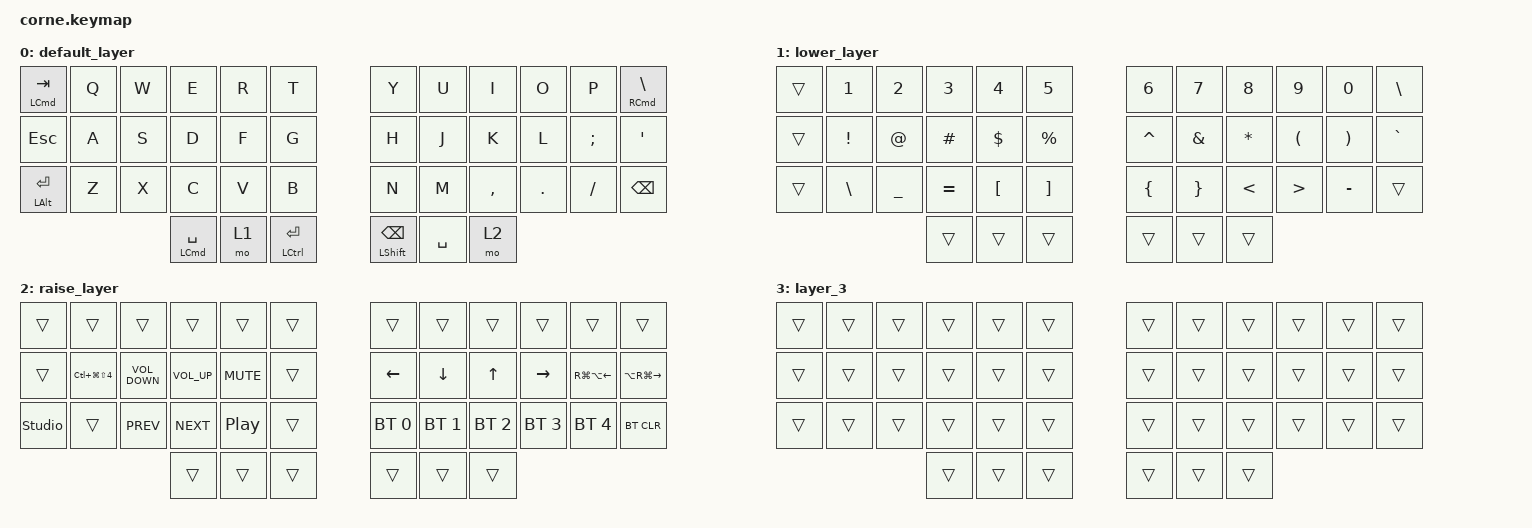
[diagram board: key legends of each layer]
/*
 * Copyright (c) 2020 The ZMK Contributors
 *
 * SPDX-License-Identifier: MIT
 */

#include <behaviors.dtsi>
#include <dt-bindings/zmk/bt.h>
#include <dt-bindings/zmk/keys.h>

/ {
    keymap {
        compatible = "zmk,keymap";

        default_layer {
            // -----------------------------------------------------------------------------------------
            // |  TAB |  Q  |  W  |  E  |  R  |  T  |   |  Y  |  U   |  I  |  O  |  P  | BSPC |
            // | CTRL |  A  |  S  |  D  |  F  |  G  |   |  H  |  J   |  K  |  L  |  ;  |  '   |
            // | SHFT |  Z  |  X  |  C  |  V  |  B  |   |  N  |  M   |  ,  |  .  |  /  | ESC  |
            //                    | GUI | LWR | SPC |   | ENT | RSE  | ALT |

            bindings = <
&mt LEFT_COMMAND TAB  &kp Q  &kp W  &kp E                   &kp R  &kp T               &kp Y                     &kp U      &kp I      &kp O       &kp P     &mt RIGHT_COMMAND BACKSLASH
&kp ESCAPE            &kp A  &kp S  &kp D                   &kp F  &kp G               &kp H                     &kp J      &kp K      &kp L       &kp SEMI  &kp SQT
&mt LEFT_ALT RET      &kp Z  &kp X  &kp C                   &kp V  &kp B               &kp N                     &kp M      &kp COMMA  &kp PERIOD  &kp FSLH  &kp BACKSPACE
                                    &mt LEFT_COMMAND SPACE  &mo 1  &mt LCTRL RETURN    &mt LEFT_SHIFT BACKSPACE  &kp SPACE  &mo 2
            >;
        };

        lower_layer {
            // -----------------------------------------------------------------------------------------
            // |  TAB |  1  |  2  |  3  |  4  |  5  |   |  6  |  7  |  8  |  9  |  0  | BSPC |
            // | BTCLR| BT1 | BT2 | BT3 | BT4 | BT5 |   | LFT | DWN |  UP | RGT |     |      |
            // | SHFT |     |     |     |     |     |   |     |     |     |     |     |      |
            //                    | GUI |     | SPC |   | ENT |     | ALT |

            bindings = <
&trans  &kp N1           &kp N2          &kp N3     &kp N4            &kp N5               &kp N6          &kp N7           &kp N8         &kp N9                &kp N0                 &kp BACKSLASH
&trans  &kp EXCLAMATION  &kp AT_SIGN     &kp HASH   &kp DOLLAR        &kp PERCENT          &kp CARET       &kp AMPERSAND    &kp ASTERISK   &kp LEFT_PARENTHESIS  &kp RIGHT_PARENTHESIS  &kp GRAVE
&trans  &kp BACKSLASH    &kp UNDERSCORE  &kp EQUAL  &kp LEFT_BRACKET  &kp RIGHT_BRACKET    &kp LEFT_BRACE  &kp RIGHT_BRACE  &kp LESS_THAN  &kp GREATER_THAN      &kp MINUS              &trans
                                         &trans     &trans            &trans               &trans          &trans           &trans
            >;
        };

        raise_layer {
            // -----------------------------------------------------------------------------------------
            // |  TAB |  !  |  @  |  #  |  $  |  %  |   |  ^  |  &  |  *  |  (  |  )  | BSPC |
            // | CTRL |     |     |     |     |     |   |  -  |  =  |  [  |  ]  |  \  |  `   |
            // | SHFT |     |     |     |     |     |   |  _  |  +  |  {  |  }  | "|" |  ~   |
            //                    | GUI |     | SPC |   | ENT |     | ALT |

            bindings = <
&trans  &trans                    &trans             &trans           &trans            &trans    &trans          &trans          &trans        &trans           &trans                  &trans
&trans  &kp LC(LG(LS(NUMBER_4)))  &kp C_VOLUME_DOWN  &kp C_VOLUME_UP  &kp K_MUTE        &trans    &kp LEFT_ARROW  &kp DOWN_ARROW  &kp UP_ARROW  &kp RIGHT_ARROW  &kp RG(LA(LEFT_ARROW))  &kp LA(RG(RIGHT))
&studio_unlock  &trans                    &kp C_PREV         &kp C_NEXT       &kp C_PLAY_PAUSE  &trans    &bt BT_SEL 0    &bt BT_SEL 1    &bt BT_SEL 2  &bt BT_SEL 3     &bt BT_SEL 4            &bt BT_CLR
                                                     &trans           &trans            &trans    &trans          &trans          &trans
            >;
        };

        layer_3 {
            bindings = <
&trans  &trans  &trans  &trans  &trans  &trans    &trans  &trans  &trans  &trans  &trans  &trans
&trans  &trans  &trans  &trans  &trans  &trans    &trans  &trans  &trans  &trans  &trans  &trans
&trans  &trans  &trans  &trans  &trans  &trans    &trans  &trans  &trans  &trans  &trans  &trans
                        &trans  &trans  &trans    &trans  &trans  &trans
            >;
        };
    };
};

